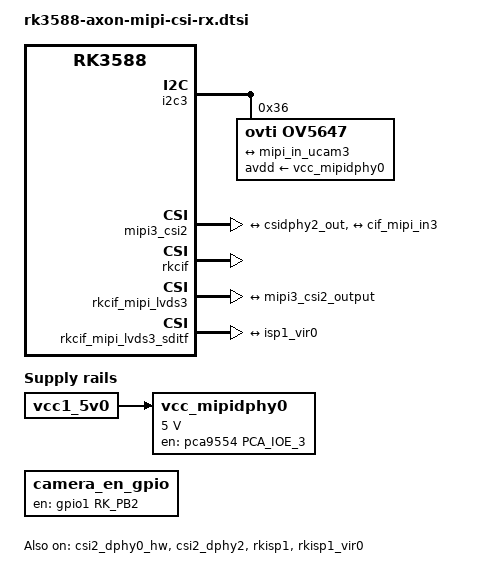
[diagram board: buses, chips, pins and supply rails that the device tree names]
// SPDX-License-Identifier: (GPL-2.0+ OR MIT)
/*
 * Copyright (C) 2023 Vicharak India
 */

/ {
	compatible = "vicharak,rk3588-axon", "rockchip,rk3588";

	vcc_mipidphy0: vcc-mipi-dphy0 {
		compatible = "regulator-fixed";
		regulator-name = "vcc_mipidphy0";
		regulator-min-microvolt = <5000000>;
		regulator-max-microvolt = <5000000>;
		gpio = <&pca9554 PCA_IOE_3 GPIO_ACTIVE_HIGH>;
		regulator-always-on;
		regulator-boot-on;
		enable-active-high;
		vin-supply = <&vcc1_5v0>;
	};

	camera_en_gpio: camera-en-gpio {
		status = "okay";
		compatible = "regulator-fixed";
		regulator-name = "camera_en_gpio";
		regulator-always-on;
		regulator-boot-on;
		enable-active-high;
		gpio = <&gpio1 RK_PB2 GPIO_ACTIVE_HIGH>;
		pinctrl-names = "default";
		pinctrl-0 = <&cam_en_gpio>;
	};
};

&i2c3 {
	ov5647: ov5647@36 {
		status = "okay";
		compatible = "ovti,ov5647";
		reg = <0x36>;

		clocks = <&cru CLK_MIPI_CAMARAOUT_M3>;
		clock-names = "xvclk";
		pinctrl-names = "default";
		pinctrl-0 = <&mipim0_camera3_clk>;
		power-domains = <&power RK3588_PD_VI>;
		avdd-supply = <&vcc_mipidphy0>;

		rockchip,camera-module-index = <1>;
		rockchip,camera-module-facing = "front";
		rockchip,camera-module-name = "ov5647";
		rockchip,camera-module-lens-name = "default";

		port {
			ov5647_out3: endpoint {
				remote-endpoint = <&mipi_in_ucam3>;
				data-lanes = <1 2>;
			};
		};
	};
};

// MIPI CSI: {{{
&csi2_dphy0_hw {
	status = "okay";
};

&csi2_dphy2 {
	status = "okay";

	ports {
		#address-cells = <1>;
		#size-cells = <0>;

		port@0 {
			reg = <0>;
			#address-cells = <1>;
			#size-cells = <0>;

			mipi_in_ucam3: endpoint@1 {
				reg = <1>;
				remote-endpoint = <&ov5647_out3>;
				data-lanes = <1 2>;
			};
		};

		port@1 {
			reg = <1>;
			#address-cells = <1>;
			#size-cells = <0>;

			csidphy2_out: endpoint@0 {
				reg = <0>;
				remote-endpoint = <&mipi3_csi2_input>;
			};
		};
	};
};

&mipi3_csi2 {
	status = "okay";

	ports {
		#address-cells = <1>;
		#size-cells = <0>;

		port@0 {
			reg = <0>;
			#address-cells = <1>;
			#size-cells = <0>;

			mipi3_csi2_input: endpoint@1 {
				reg = <1>;
				remote-endpoint = <&csidphy2_out>;
			};
		};

		port@1 {
			reg = <1>;
			#address-cells = <1>;
			#size-cells = <0>;

			mipi3_csi2_output: endpoint@0 {
				reg = <0>;
				remote-endpoint = <&cif_mipi_in3>;
			};
		};
	};
};

&rkcif {
	status = "okay";
};

&rkcif_mipi_lvds3 {
	status = "okay";

	port {
		cif_mipi_in3: endpoint {
			remote-endpoint = <&mipi3_csi2_output>;
		};
	};
};

&rkcif_mipi_lvds3_sditf {
	status = "okay";

	port {
		mipi3_lvds_sditf: endpoint {
			remote-endpoint = <&isp1_vir0>;
		};
	};
};

&rkcif_mmu {
	status = "okay";
};
// }}}

// ISP: {{{
&rkisp1 {
	status = "okay";
};

&isp1_mmu {
	status = "okay";
};

&rkisp1_vir0 {
	status = "okay";

	port {
		#address-cells = <1>;
		#size-cells = <0>;

		isp1_vir0: endpoint@0 {
			reg = <0>;
			remote-endpoint = <&mipi3_lvds_sditf>;
		};
	};
};
// }}}

&pinctrl {
	camera {
		cam_en_gpio: cam-en-gpio {
			rockchip,pins = <1 RK_PB2 RK_FUNC_GPIO &pcfg_pull_none>;
		};
	};
};
